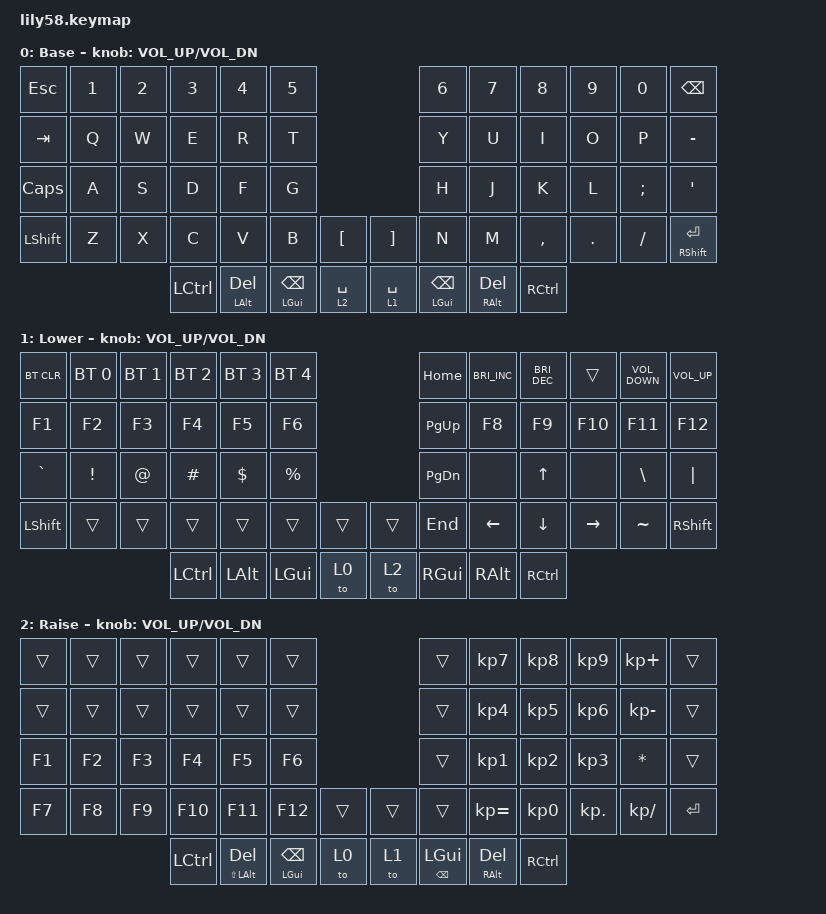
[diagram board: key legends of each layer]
/*
 * Copyright (c) 2020 The ZMK Contributors
 *
 * SPDX-License-Identifier: MIT
 */

#include <behaviors.dtsi>
#include <dt-bindings/zmk/bt.h>
#include <dt-bindings/zmk/keys.h>

/ {
    keymap {
        compatible = "zmk,keymap";

        default_layer {
            // ------------------------------------------------------------------------------------------------------------
            // |  ESC  |  1  |  2  |  3   |  4   |  5   |                   |  6   |  7    |  8    |  9   |   0   |   `   |
            // |  TAB  |  Q  |  W  |  E   |  R   |  T   |                   |  Y   |  U    |  I    |  O   |   P   |   -   |
            // |  CTRL |  A  |  S  |  D   |  F   |  G   |                   |  H   |  J    |  K    |  L   |   ;   |   '   |
            // | SHIFT |  Z  |  X  |  C   |  V   |  B   |   "["  |  |  "]"  |  N   |  M    |  ,    |  .   |   /   | SHIFT |
            //                     | ALT  | GUI  | LOWER|  SPACE |  | ENTER | RAISE| BSPC  | GUI   |

            display-name = "Base";
            bindings = <
&kp ESC       &kp N1  &kp N2  &kp N3            &kp N4           &kp N5                                          &kp N6              &kp N7           &kp N8     &kp N9   &kp N0    &kp BACKSPACE
&kp TAB       &kp Q   &kp W   &kp E             &kp R            &kp T                                           &kp Y               &kp U            &kp I      &kp O    &kp P     &kp MINUS
&kp CAPSLOCK  &kp A   &kp S   &kp D             &kp F            &kp G                                           &kp H               &kp J            &kp K      &kp L    &kp SEMI  &kp SQT
&kp LSHFT     &kp Z   &kp X   &kp C             &kp V            &kp B               &kp LBKT       &kp RBKT     &kp N               &kp M            &kp COMMA  &kp DOT  &kp FSLH  &mt RSHFT RET
                              &kp LEFT_CONTROL  &mt LALT DELETE  &mt LGUI BACKSPACE  &lt 2 SPACE    &lt 1 SPACE  &mt LGUI BACKSPACE  &mt RALT DELETE  &kp RCTRL
            >;

            sensor-bindings = <&inc_dec_kp C_VOL_UP C_VOL_DN>;
        };

        lower_layer {
            // ------------------------------------------------------------------------------------------------------------
            // | BTCLR | BT1 | BT2 |  BT3 |  BT4 |  BT5 |                   |      |       |       |      |       |       |
            // |  F1   |  F2 |  F3 |  F4  |  F5  |  F6  |                   |  F7  |  F8   |  F9   |  F10 |  F11  |  F12  |
            // |   `   |  !  |  @  |  #   |  $   |  %   |                   |  ^   |  &    |  *    |  (   |   )   |   ~   |
            // |       |     |     |      |      |      |        |  |       |      |  _    |  +    |  {   |   }   |  "|"  |
            //                     |      |      |      |        |  |       |      |       |       |

            display-name = "Lower";
            bindings = <
&bt BT_CLR  &bt BT_SEL 0  &bt BT_SEL 1  &bt BT_SEL 2  &bt BT_SEL 3  &bt BT_SEL 4                    &kp HOME       &kp C_BRIGHTNESS_INC  &kp C_BRIGHTNESS_DEC  &trans     &kp K_VOLUME_DOWN  &kp K_VOLUME_UP
&kp F1      &kp F2        &kp F3        &kp F4        &kp F5        &kp F6                          &kp PAGE_UP    &kp F8                &kp F9                &kp F10    &kp F11            &kp F12
&kp GRAVE   &kp EXCL      &kp AT        &kp HASH      &kp DOLLAR    &kp PRCNT                       &kp PAGE_DOWN  &none                 &kp UP_ARROW          &none      &kp BACKSLASH      &kp PIPE
&kp LSHFT   &trans        &trans        &trans        &trans        &trans        &trans    &trans  &kp END        &kp LEFT              &kp DOWN_ARROW        &kp RIGHT  &kp TILDE          &kp RSHFT
                                        &kp LCTRL     &kp LEFT_ALT  &kp LGUI      &to 0     &to 2   &kp RIGHT_GUI  &kp RIGHT_ALT         &kp RCTRL
            >;

            sensor-bindings = <&inc_dec_kp C_VOL_UP C_VOL_DN>;
        };

        raise_layer {
            // ------------------------------------------------------------------------------------------------------------
            // |       |     |     |      |      |      |                   |      |       |       |      |       |       |
            // |   `   |  1  |  2  |  3   |  4   |  5   |                   |  6   |   7   |   8   |  9   |   0   |       |
            // |   F1  |  F2 |  F3 |  F4  |  F5  |  F6  |                   |      |   <-  |   v   |  ^   |  ->   |       |
            // |   F7  |  F8 |  F9 |  F10 |  F11 |  F12 |        |  |       |  +   |   -   |   =   |  [   |   ]   |   \   |
            //                     |      |      |      |        |  |       |      |       |       |

            display-name = "Raise";
            bindings = <
&trans  &trans  &trans  &trans            &trans            &trans                                &trans              &kp KP_NUMBER_7       &kp KP_NUMBER_8    &kp KP_NUMBER_9  &kp KP_PLUS    &trans
&trans  &trans  &trans  &trans            &trans            &trans                                &trans              &kp KP_NUMBER_4       &kp KP_NUMBER_5    &kp KP_NUMBER_6  &kp KP_MINUS   &trans
&kp F1  &kp F2  &kp F3  &kp F4            &kp F5            &kp F6                                &trans              &kp KP_NUMBER_1       &kp KP_NUMBER_2    &kp KP_NUMBER_3  &kp ASTERISK   &trans
&kp F7  &kp F8  &kp F9  &kp F10           &kp F11           &kp F12             &trans    &trans  &trans              &kp KP_EQUAL          &kp KP_NUMBER_0    &kp KP_DOT       &kp KP_DIVIDE  &kp RET
                        &kp LEFT_CONTROL  &mt LS(LALT) DEL  &mt LGUI BACKSPACE  &to 0     &to 1   &mt BACKSPACE LGUI  &mt RIGHT_ALT DELETE  &kp RIGHT_CONTROL
            >;

            sensor-bindings = <&inc_dec_kp C_VOL_UP C_VOL_DN>;
        };
    };
};
